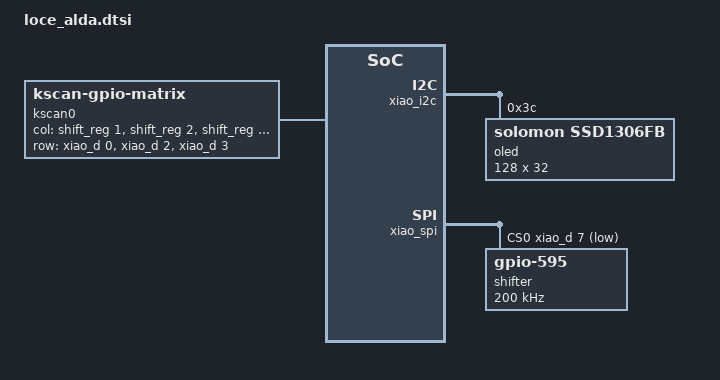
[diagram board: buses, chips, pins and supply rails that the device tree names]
#include <dt-bindings/zmk/matrix_transform.h>

#include <physical_layouts.dtsi>
#include "loce_alda-layouts.dtsi"

/ {
	chosen {
		zephyr,display = &oled;
		zmk,kscan = &kscan0;
		// zmk,matrix-transform = &default_transform;
		zmk,physical-layout = &physical_layout0;
	};
	keypad_position_map {
		compatible = "zmk,physical-layout-position-map";

		physical_layout0 {
			physical-layout = <&physical_layout0>;
			positions = <>;
		};
	};

	kscan0: kscan {
		compatible = "zmk,kscan-gpio-matrix";
		wakeup-source;

		diode-direction = "col2row";
        
		col-gpios
            = <&shift_reg 1 (GPIO_ACTIVE_HIGH)>
            , <&shift_reg 2 (GPIO_ACTIVE_HIGH)>
            , <&shift_reg 15 (GPIO_ACTIVE_HIGH)>
            , <&shift_reg 3 (GPIO_ACTIVE_HIGH)>
            , <&shift_reg 4 (GPIO_ACTIVE_HIGH)>
            , <&shift_reg 5 (GPIO_ACTIVE_HIGH)>
            ;

        row-gpios
            = <&xiao_d 0 (GPIO_ACTIVE_HIGH | GPIO_PULL_DOWN)>
            , <&xiao_d 2 (GPIO_ACTIVE_HIGH | GPIO_PULL_DOWN)>
            , <&xiao_d 3 (GPIO_ACTIVE_HIGH | GPIO_PULL_DOWN)>
            ;
	};
};
&xiao_i2c {
	status = "okay";

	oled: ssd1306@3c {
		compatible = "solomon,ssd1306fb";
		reg = <0x3c>;
		width = <128>;
		height = <32>;
		segment-offset = <0>;
		page-offset = <0>;
		display-offset = <0>;
		multiplex-ratio = <31>;
		segment-remap;
		com-invdir;
		com-sequential;
		inversion-on;
		prechargep = <0x22>;
	};
};

&xiao_spi {
    status = "okay";
    cs-gpios = <&xiao_d 7 GPIO_ACTIVE_LOW>;
    shifter: 74HC595@0 {
        compatible = "zmk,gpio-595";
        status = "okay";
        gpio-controller;
        spi-max-frequency = <200000>;
        reg = <0>;
        #gpio-cells = <2>;
        ngpios = <8>;
    };
};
